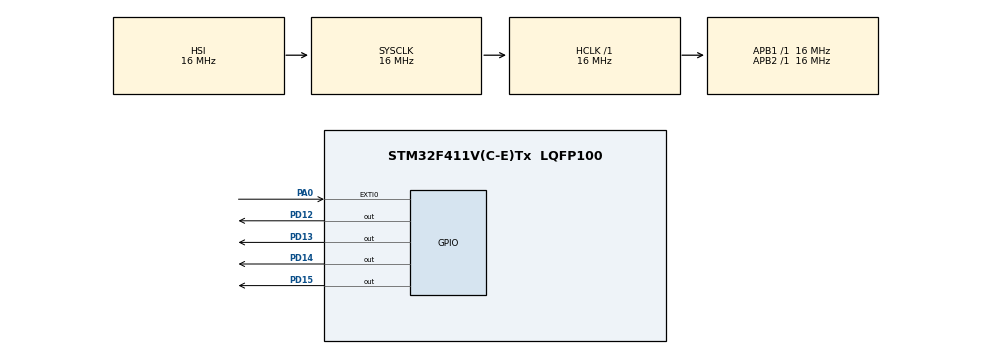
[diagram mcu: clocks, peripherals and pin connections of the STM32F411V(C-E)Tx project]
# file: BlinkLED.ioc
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Mcu.Family=STM32F4
Mcu.Name=STM32F411V(C-E)Tx
Mcu.Package=LQFP100
NVIC.EXTI0_IRQn=true\:0\:0\:false\:false\:true\:true\:true\:true
NVIC.PriorityGroup=NVIC_PRIORITYGROUP_4
PA0-WKUP.Signal=GPXTI0
PD12.Signal=GPIO_Output
PD13.Signal=GPIO_Output
PD14.Signal=GPIO_Output
PD15.Signal=GPIO_Output
ProjectManager.HeapSize=0x200
ProjectManager.StackSize=0x400
ProjectManager.TargetToolchain=STM32CubeIDE
RCC.AHBFreq_Value=16000000
RCC.APB1Freq_Value=16000000
RCC.APB2Freq_Value=16000000
RCC.CortexFreq_Value=16000000
RCC.HSE_VALUE=25000000
RCC.HSI_VALUE=16000000
RCC.LSE_VALUE=32768
RCC.SYSCLKFreq_VALUE=16000000
RCC.VCOOutputFreq_Value=192000000
board=custom

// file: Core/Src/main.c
/* USER CODE BEGIN Header */
/**
  ******************************************************************************
  * @file           : main.c
  * @brief          : Main program body
  ******************************************************************************
  * @attention
  *
  * Copyright (c) 2025 STMicroelectronics.
  * All rights reserved.
  *
  * This software is licensed under terms that can be found in the LICENSE file
  * in the root directory of this software component.
  * If no LICENSE file comes with this software, it is provided AS-IS.
  *
  ******************************************************************************
  */
/* USER CODE END Header */
#include "main.h"

/* USER CODE BEGIN PD */
volatile uint32_t led1_counter = 0;
volatile uint32_t led2_counter = 0;
volatile uint32_t button_pressed;
/* USER CODE END PD */

/* USER CODE BEGIN PV */
volatile __UINT32_TYPE__ last_button_time = 0;
/* USER CODE END PV */

void SystemClock_Config(void);
static void MX_GPIO_Init(void);
/* USER CODE BEGIN PFP */

void LED3_Update(void);
/* USER CODE END PFP */

int main(void)
{

  /* MCU Configuration--------------------------------------------------------*/

  /* Reset of all peripherals, Initializes the Flash interface and the Systick. */
  HAL_Init();

  /* Configure the system clock */
  SystemClock_Config();

  /* Initialize all configured peripherals */
  MX_GPIO_Init();

  /* Infinite loop */
  /* USER CODE BEGIN WHILE */
 while (1)
{
  LED3_Update();
}

}

void SystemClock_Config(void)
{
  RCC_OscInitTypeDef RCC_OscInitStruct = {0};
  RCC_ClkInitTypeDef RCC_ClkInitStruct = {0};

  /** Configure the main internal regulator output voltage
  */
  __HAL_RCC_PWR_CLK_ENABLE();
  __HAL_PWR_VOLTAGESCALING_CONFIG(PWR_REGULATOR_VOLTAGE_SCALE1);

  /** Initializes the RCC Oscillators according to the specified parameters
  * in the RCC_OscInitTypeDef structure.
  */
  RCC_OscInitStruct.OscillatorType = RCC_OSCILLATORTYPE_HSI;
  RCC_OscInitStruct.HSIState = RCC_HSI_ON;
  RCC_OscInitStruct.HSICalibrationValue = RCC_HSICALIBRATION_DEFAULT;
  RCC_OscInitStruct.PLL.PLLState = RCC_PLL_NONE;
  if (HAL_RCC_OscConfig(&RCC_OscInitStruct) != HAL_OK)
  {
    Error_Handler();
  }

  /** Initializes the CPU, AHB and APB buses clocks
  */
  RCC_ClkInitStruct.ClockType = RCC_CLOCKTYPE_HCLK|RCC_CLOCKTYPE_SYSCLK
                              |RCC_CLOCKTYPE_PCLK1|RCC_CLOCKTYPE_PCLK2;
  RCC_ClkInitStruct.SYSCLKSource = RCC_SYSCLKSOURCE_HSI;
  RCC_ClkInitStruct.AHBCLKDivider = RCC_SYSCLK_DIV1;
  RCC_ClkInitStruct.APB1CLKDivider = RCC_HCLK_DIV1;
  RCC_ClkInitStruct.APB2CLKDivider = RCC_HCLK_DIV1;

  if (HAL_RCC_ClockConfig(&RCC_ClkInitStruct, FLASH_LATENCY_0) != HAL_OK)
  {
    Error_Handler();
  }
}

static void MX_GPIO_Init(void)
{
  GPIO_InitTypeDef GPIO_InitStruct = {0};

  /* GPIO Ports Clock Enable */
  __HAL_RCC_GPIOA_CLK_ENABLE();
  __HAL_RCC_GPIOD_CLK_ENABLE();

  /*Configure GPIO pin Output Level */
  HAL_GPIO_WritePin(GPIOD, GPIO_PIN_12|GPIO_PIN_13|GPIO_PIN_14|GPIO_PIN_15, GPIO_PIN_RESET);

  /*Configure GPIO pin : PA0 */
  GPIO_InitStruct.Pin = GPIO_PIN_0;
  GPIO_InitStruct.Mode = GPIO_MODE_INPUT;
  GPIO_InitStruct.Pull = GPIO_PULLDOWN;
  HAL_GPIO_Init(GPIOA, &GPIO_InitStruct);

  /*Configure GPIO pins : PD12 PD13 PD14 PD15 */
  GPIO_InitStruct.Pin = GPIO_PIN_12|GPIO_PIN_13|GPIO_PIN_14|GPIO_PIN_15;
  GPIO_InitStruct.Mode = GPIO_MODE_OUTPUT_PP;
  GPIO_InitStruct.Pull = GPIO_NOPULL;
  GPIO_InitStruct.Speed = GPIO_SPEED_FREQ_LOW;
  HAL_GPIO_Init(GPIOD, &GPIO_InitStruct);

  /* USER CODE BEGIN MX_GPIO_Init_2 */
  HAL_NVIC_SetPriority(EXTI0_IRQn, 2, 0);
  HAL_NVIC_EnableIRQ(EXTI0_IRQn);
  /* USER CODE END MX_GPIO_Init_2 */
}

/* USER CODE BEGIN 4 */
/**
  * @brief  This function is executed toggle led 1 cycles 100 ms.
  * @retval None
  */
void LED1_Update(void)
{
  led1_counter++;
  if (led1_counter >= 100)  // 500ms
  {
    HAL_GPIO_TogglePin(GPIOD, GPIO_PIN_12);
    led1_counter = 0;
  }
}

/**
  * @brief  This function is executed toggle led 2 cycles 2000 ms.
  * @retval None
  */
void LED2_Update(void)
{
  led2_counter++;
  if (led2_counter >= 2000)  // 1000ms
  {
    HAL_GPIO_TogglePin(GPIOD, GPIO_PIN_13);
    led2_counter = 0;
  }
}
/**
  * @brief  This function is executed toggle led 3 when button is pressed.
  * @retval None
  */
void LED3_Update(void)
{
    // static uint32_t last_sample_tick = 0;
    // static uint8_t sample_count = 0;
    // static uint8_t button_state = 0;
    // static uint8_t last_button_state = 0;

    // if (HAL_GetTick() - last_sample_tick >= 10) // mỗi 10ms kiểm tra 1 lần
    // {
    //     last_sample_tick = HAL_GetTick();

    //     if (HAL_GPIO_ReadPin(GPIOA, GPIO_PIN_0) == GPIO_PIN_SET)
    //     {
    //         if (sample_count < 3)
    //             sample_count++;
    //     }
    //     else
    //     {
    //         sample_count = 0;
    //     }

    //     if (sample_count >= 3)
    //         button_state = 1;
    //     else
    //         button_state = 0;

    //     // Phát hiện cạnh lên (nhấn mới)
    //     if (button_state && !last_button_state)
    //     {
    //         HAL_GPIO_TogglePin(GPIOD, GPIO_PIN_15);  // toggle LED
    //     }
    //     last_button_state = button_state;
    // }

  // static __UINT32_TYPE__ last_tick = 0;
  // static __UINT8_TYPE__  but_cnt   = 0;
  // static __UINT8_TYPE__  last_state = 0;
  // if ((HAL_GetTick() - last_tick) >= 10)
  // {
  //   last_tick = HAL_GetTick();
  //   if (HAL_GPIO_ReadPin(GPIOA, GPIO_PIN_0) == GPIO_PIN_SET) &&
  //   {
  //     if (but_cnt < 3)
  //     {
  //       but_cnt ++;
  //     }
  //     else if (but_cnt >= 3)
  //     {
  //       HAL_GPIO_TogglePin(GPIOD, GPIO_PIN_15);
  //     }
  //     else
  //     {
  //       but_cnt = 0;
  //     }
  //   }
  // }
	static uint8_t last_button_state = 0;
	static uint32_t last_tick = 0;
  static uint8_t count = 0;

	if ((HAL_GetTick() - last_tick) >= 10)
  {
    last_tick = HAL_GetTick();

    uint8_t current_state = HAL_GPIO_ReadPin(GPIOA, GPIO_PIN_0);

    if (current_state == GPIO_PIN_RESET && last_button_state == GPIO_PIN_SET)
    {
      if (count >=3 )
      {
        //check pulse down to up
        HAL_GPIO_TogglePin(GPIOD, GPIO_PIN_15);
      }
      else if (count < 3)
      {
        count ++;
      }
      else
      {
        count = 0;
      }
    }

    last_button_state = current_state;
  }

}
/* USER CODE END 4 */

void Error_Handler(void)
{
  __disable_irq();
  while (1)
  {
  }
}

/**
  * @brief  This function is executed toggled if button is used, func use EXTI.
  * @retval None
  */
